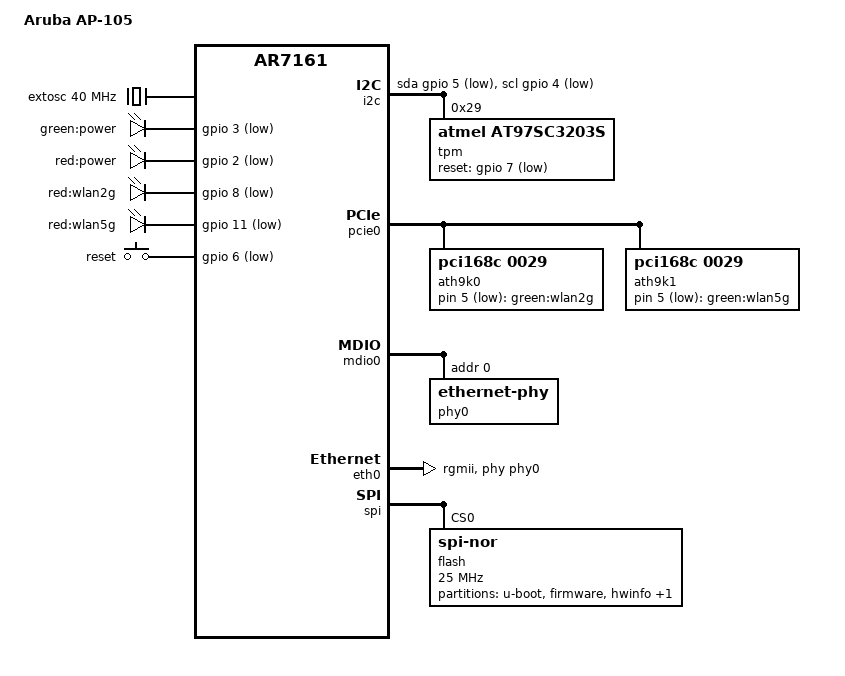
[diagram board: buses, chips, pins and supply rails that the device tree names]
// SPDX-License-Identifier: GPL-2.0-or-later OR MIT

#include "ar7100.dtsi"

#include <dt-bindings/gpio/gpio.h>
#include <dt-bindings/input/input.h>

/ {
	compatible = "aruba,ap-105", "qca,ar7161";
	model = "Aruba AP-105";

	chosen {
		bootargs = "console=ttyS0,9600";
	};

	aliases {
		led-boot = &led_power_green;
		led-failsafe = &led_power_red;
		led-running = &led_power_green;
		led-upgrade = &led_power_green;
		label-mac-device = &eth0;
	};

	extosc: ref {
		compatible = "fixed-clock";
		#clock-cells = <0>;
		clock-output-names = "ref";
		clock-frequency = <40000000>;
	};

	leds {
		compatible = "gpio-leds";

		led_power_green: power_green {
			label = "green:power";
			gpios = <&gpio 3 GPIO_ACTIVE_LOW>;
		};

		led_power_red: power_red {
			label = "red:power";
			gpios = <&gpio 2 GPIO_ACTIVE_LOW>;
			panic-indicator;
		};

		wifi_2g_red {
			label = "red:wlan2g";
			gpios = <&gpio 8 GPIO_ACTIVE_LOW>;
		};

		wifi_5g_red {
			label = "red:wlan5g";
			gpios = <&gpio 11 GPIO_ACTIVE_LOW>;
		};
	};

	ath9k-leds {
		compatible = "gpio-leds";

		wifi_2g_green {
			label = "green:wlan2g";
			gpios = <&ath9k0 5 GPIO_ACTIVE_LOW>;
			linux,default-trigger = "phy0tpt";
		};

		wifi_5g_green {
			label = "green:wlan5g";
			gpios = <&ath9k1 5 GPIO_ACTIVE_LOW>;
			linux,default-trigger = "phy1tpt";
		};
	};

	keys {
		compatible = "gpio-keys";

		reset {
			label = "reset";
			linux,code = <KEY_RESTART>;
			gpios = <&gpio 6 GPIO_ACTIVE_LOW>;
		};
	};

	i2c {
		compatible = "i2c-gpio";

		sda-gpios = <&gpio 5 GPIO_ACTIVE_LOW>;
		scl-gpios = <&gpio 4 GPIO_ACTIVE_LOW>;

		#address-cells = <1>;
		#size-cells = <0>;

		tpm@29 {
			compatible = "atmel,at97sc3203s";
			reg = <0x29>;

			/* triggering it, will also kill system */
			reset-gpios = <&gpio 7 GPIO_ACTIVE_LOW>;
		};
	};
};

&pcie0 {
	status = "okay";

	ath9k0: wifi@0,11 { /* 2.4 GHz */
		compatible = "pci168c,0029";
		mtd-mac-address = <&hwinfo 0x1c>;
		mtd-mac-address-increment = <1>;
		reg = <0x8800 0 0 0 0>;
		#gpio-cells = <2>;
		gpio-controller;
	};

	ath9k1: wifi@0,12 { /* 5 GHz */
		compatible = "pci168c,0029";
		mtd-mac-address = <&hwinfo 0x1c>;
		mtd-mac-address-increment = <2>;
		reg = <0x9000 0 0 0 0>;
		#gpio-cells = <2>;
		gpio-controller;
	};
};

&mdio0 {
	status = "okay";

	phy-mask = <0x1>;

	phy0: ethernet-phy@0 {
		reg = <0>;
	};
};

&eth0 {
	status = "okay";
	mtd-mac-address = <&hwinfo 0x1c>;

	pll-data = <0x00110000 0x00001099 0x00991099>;

	phy-mode = "rgmii";
	phy-handle = <&phy0>;
};

&spi {
	status = "okay";

	flash@0 {
		compatible = "jedec,spi-nor";
		reg = <0>;
		spi-max-frequency = <25000000>;

		partitions {
			compatible = "fixed-partitions";
			#address-cells = <1>;
			#size-cells = <1>;

			partition@0 {
				label = "u-boot";
				reg = <0x000000 0x40000>;
				read-only;
			};

			partition@40000 {
				label = "firmware";
				reg = <0x40000 0xfa0000>;
				compatible = "denx,uimage";
			};

			hwinfo: partition@fe0000 {
				label = "hwinfo";
				reg = <0xfe0000 0x10000>;
				read-only;
			};

			partition@ff0000 {
				label = "u-boot-env";
				reg = <0xff0000 0x10000>;
				read-only;
			};
		};
	};
};
